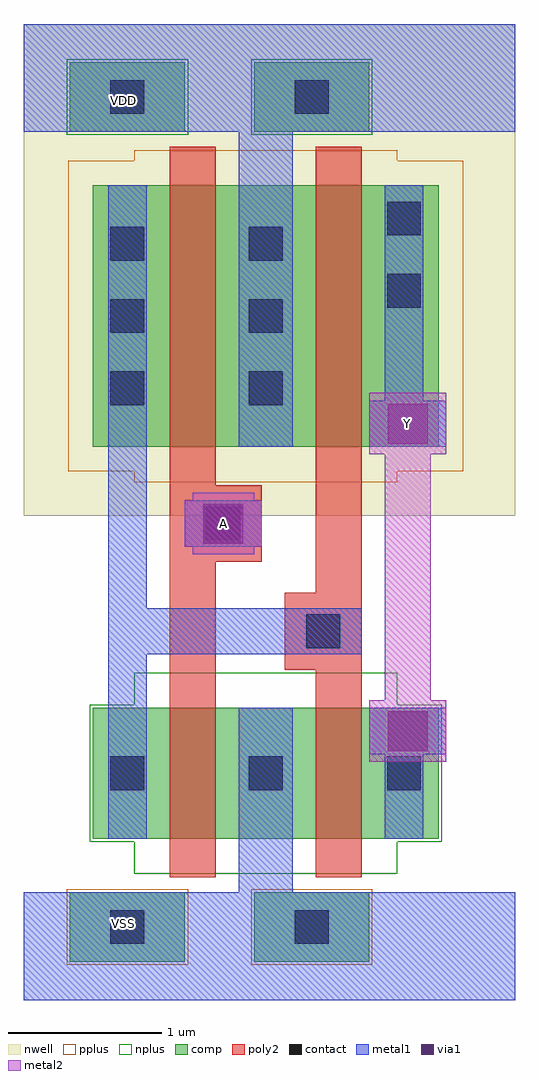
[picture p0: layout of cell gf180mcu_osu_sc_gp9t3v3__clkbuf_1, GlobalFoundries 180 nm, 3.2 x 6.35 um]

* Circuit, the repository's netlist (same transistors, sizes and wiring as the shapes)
* Copyright 2022 Google LLC
*
* Licensed under the Apache License, Version 2.0 (the "License");
* you may not use this file except in compliance with the License.
* You may obtain a copy of the License at
*
*      http://www.apache.org/licenses/LICENSE-2.0
*
* Unless required by applicable law or agreed to in writing, software
* distributed under the License is distributed on an "AS IS" BASIS,
* WITHOUT WARRANTIES OR CONDITIONS OF ANY KIND, either express or implied.
* See the License for the specific language governing permissions and
* limitations under the License.

* NGSPICE file created from gf180mcu_osu_sc_gp9t3v3__clkbuf_1.ext - technology: gf180mcuC

.subckt gf180mcu_osu_sc_gp9t3v3__clkbuf_1 A Y VDD VSS
X0 VDD A a_9_21# VDD pfet_03p3 w=1.7u l=0.3u
X1 VSS A a_9_21# VSS nfet_03p3 w=0.85u l=0.3u
X2 Y a_9_21# VDD VDD pfet_03p3 w=1.7u l=0.3u
X3 Y a_9_21# VSS VSS nfet_03p3 w=0.85u l=0.3u
.ends

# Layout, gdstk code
import gdstk
lib = gdstk.Library(unit=1e-6, precision=1e-09)
def R(c, l, rs):  # rectangles x0, y0, x1, y1
    for r in rs: c.add(gdstk.rectangle(r[:2], r[2:], *l))
def A(c, l, x, y, w, h, nx, ny, dx, dy):  # array of equal rectangles
    R(c, l, [(x+i*dx, y+j*dy, x+i*dx+w, y+j*dy+h) for i in range(nx) for j in range(ny)])
nwell = (21, 0)
comp = (22, 0)
poly2 = (30, 0)
pplus = (31, 0)
nplus = (32, 0)
contact = (33, 0)
metal1 = (34, 0)
via1 = (35, 0)
metal2 = (36, 0)

gf180mcu_osu_sc_gp9t3v3_ = lib.new_cell('gf180mcu_osu_sc_gp9t3v3__clkbuf_1')
R(gf180mcu_osu_sc_gp9t3v3_, nwell, [(0,3.15,3.2,6.35)])
R(gf180mcu_osu_sc_gp9t3v3_, comp, [(0.3,0.25,1.05,0.7), (1.5,0.25,2.25,0.7), (0.45,1.05,2.7,1.9), (0.45,3.6,2.7,5.3), (0.3,5.65,1.05,6.1), (1.5,5.65,2.25,6.1)])
R(gf180mcu_osu_sc_gp9t3v3_, poly2, [(0.95,0.8,1.25,2.85), (1.9,0.8,2.2,2.15), (1.7,2.15,2.2,2.65), (1.9,2.65,2.2,5.55), (0.95,2.85,1.55,3.35), (0.95,3.35,1.25,5.55)])
R(gf180mcu_osu_sc_gp9t3v3_, pplus, [(0.28,0.23,1.07,0.72), (1.48,0.23,2.27,0.72), (0.72,3.37,2.43,3.44), (0.29,3.44,2.86,5.46), (0.72,5.46,2.43,5.53)])
R(gf180mcu_osu_sc_gp9t3v3_, nplus, [(0.72,0.82,2.43,1.03), (0.43,1.03,2.72,1.92), (0.72,1.92,2.43,2.13), (0.28,5.63,1.07,6.12), (1.48,5.63,2.27,6.12)])
A(gf180mcu_osu_sc_gp9t3v3_, contact, 0.565, 1.365, 0.22, 0.22, 3, 1, 0.9, 0)
A(gf180mcu_osu_sc_gp9t3v3_, contact, 0.565, 3.87, 0.22, 0.22, 1, 3, 0, 0.47)
A(gf180mcu_osu_sc_gp9t3v3_, contact, 1.465, 3.87, 0.22, 0.22, 1, 3, 0, 0.47)
R(gf180mcu_osu_sc_gp9t3v3_, contact, [(0.565,0.365,0.785,0.585), (1.765,0.365,1.985,0.585), (1.84,2.29,2.06,2.51), (1.19,2.99,1.41,3.21), (2.365,4.505,2.585,4.725), (2.365,4.975,2.585,5.195), (0.565,5.765,0.785,5.985), (1.765,5.765,1.985,5.985)])
R(gf180mcu_osu_sc_gp9t3v3_, metal1, [(0,0,3.2,0.7), (1.4,0.7,1.75,1.9), (0.55,1.05,0.8,2.25), (2.35,1.05,2.6,1.6), (2.25,1.6,2.75,1.9), (0.55,2.25,2.2,2.55), (0.55,2.55,0.8,5.3), (1.05,2.95,1.55,3.25), (1.4,3.6,1.75,5.65), (2.25,3.6,2.75,3.9), (2.35,3.9,2.6,5.3), (0,5.65,3.2,6.35)])
R(gf180mcu_osu_sc_gp9t3v3_, via1, [(2.37,1.62,2.63,1.88), (1.17,2.97,1.43,3.23), (2.37,3.62,2.63,3.88)])
R(gf180mcu_osu_sc_gp9t3v3_, metal2, [(2.25,1.55,2.75,1.95), (2.35,1.95,2.65,3.55), (1.1,2.9,1.5,2.95), (1.05,2.95,1.55,3.25), (1.1,3.25,1.5,3.3), (2.25,3.55,2.75,3.95)])
gf180mcu_osu_sc_gp9t3v3_.add(gdstk.Label('A', (1.3,3.1), layer=36, texttype=10))
gf180mcu_osu_sc_gp9t3v3_.add(gdstk.Label('Y', (2.5,3.75), layer=36, texttype=10))
gf180mcu_osu_sc_gp9t3v3_.add(gdstk.Label('VDD', (0.65,5.85), layer=34, texttype=10))
gf180mcu_osu_sc_gp9t3v3_.add(gdstk.Label('VSS', (0.65,0.5), layer=34, texttype=10))

lib.write_gds('gf180mcu_osu_sc_gp9t3v3__clkbuf_1.gds')
